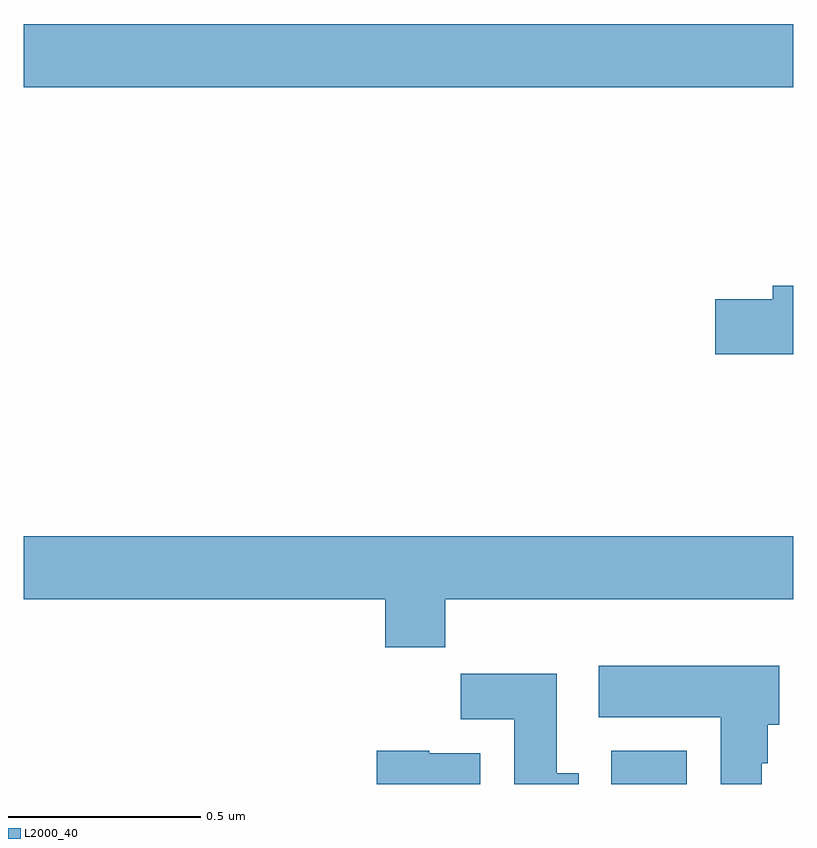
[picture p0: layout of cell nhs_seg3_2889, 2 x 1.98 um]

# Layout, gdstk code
import gdstk
lib = gdstk.Library(unit=1e-6, precision=1e-09)
def R(c, l, rs):  # rectangles x0, y0, x1, y1
    for r in rs: c.add(gdstk.rectangle(r[:2], r[2:], *l))
def P(c, l, *ps):  # polygons
    for p in ps: c.add(gdstk.Polygon(p, *l))
L2000_40 = (2000, 40)

nhs_seg3_2889 = lib.new_cell('nhs_seg3_2889')
R(nhs_seg3_2889, L2000_40, [(147.527,736.4,147.724,736.486), (146,738.212,148,738.376)])
P(nhs_seg3_2889, L2000_40, [(148,737.696),(147.947,737.696),(147.947,737.66),(147.798,737.66),(147.798,737.518),(148,737.518)],
  [(147.095,736.88),(148,736.88),(148,737.044),(146,737.044),(146,736.88),(146.939,736.88),(146.939,736.756),(147.095,736.756)],
  [(147.919,736.454),(147.934,736.454),(147.934,736.554),(147.964,736.554),(147.964,736.708),(147.495,736.708),(147.495,736.574),(147.812,736.574),(147.812,736.4),(147.919,736.4)],
  [(147.442,736.428),(147.385,736.428),(147.385,736.687),(147.136,736.687),(147.136,736.568),(147.275,736.568),(147.275,736.4),(147.442,736.4)],
  [(147.187,736.48),(147.054,736.48),(147.054,736.486),(146.918,736.486),(146.918,736.4),(147.187,736.4)])

lib.write_gds('nhs_seg3_2889.gds')
